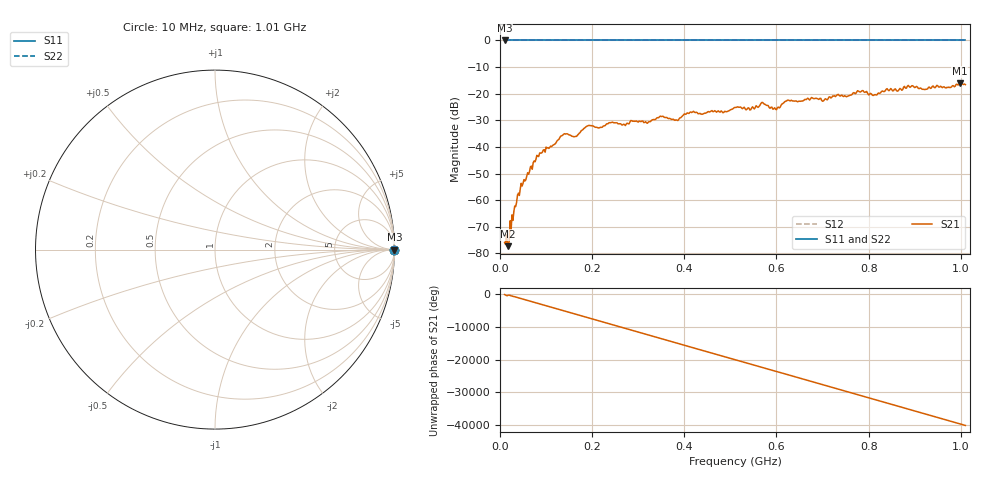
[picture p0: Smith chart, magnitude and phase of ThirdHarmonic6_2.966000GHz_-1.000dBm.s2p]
! 8/17/2025 8:23:06 AM
! C:\ANRITSUVNA\TEMP\TEMP.S2P
! CHANNEL.1
! TR.MEASUREMENT
! RAW.DATA
! RF.CORRECTION.OFF
! AVERAGING.OFF
! IF.BANDWIDTH: 5KHZ
! SWEEPTYPE:  FREQ.SWEEP(Linear)
! Reference Plane Port Info
! PORT:  PORT1  PORT2
! DISTANCE:  0  m  0  m
! TIME:  0  s  0  s
! PHASE.OFFSET:  0  deg.  0  deg.
! LOSS:  0  dB  0  dB
! REF.LOSS:  0  dB  0  dB
! REF.FREQ:  0  Hz  0  Hz
! Power Info
! POWER:  -20  dBm  -20  dBm
! EFF.POWER:  -20  dBm  -20  dBm
! SOURCE.ATTEN:  0  dB  0  dB
! TEST.ATTEN:  0  dB  0  dB
# GHZ S RI R 50.0
! FREQ.GHZ  S11RE  S11IM  S21RE  S21IM  S12RE  S12IM  S22RE  S22IM
!; PortSelection: Port_12
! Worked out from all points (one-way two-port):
!   501 points, 10 MHz to 1.01 GHz, reference 50 ohm
!   highest |S21| = -16.07 dB at 998 MHz (marker M1); lowest = -77.3 dB at 18 MHz (marker M2)
!   lowest |S11| = 0.0 dB at 10 MHz (marker M3)
!   |S11| at or under -10 dB: nowhere
!   |S22| runs from 0.0 to 0.0 dB; largest |S21 - S12| = 1.1
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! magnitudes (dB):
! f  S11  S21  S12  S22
! 10 MHz  0.0  -75.9  0.0  0.0
! 16 MHz  0.0  -76.0  0.0  0.0
! 18 MHz  0.0  -77.3  0.0  0.0
! 42 MHz  0.0  -58.2  0.0  0.0
! 76 MHz  0.0  -45.6  0.0  0.0
! 136 MHz  0.0  -35.6  0.0  0.0
! 164 MHz  0.0  -36.0  0.0  0.0
! 178 MHz  0.0  -33.7  0.0  0.0
! 344 MHz  0.0  -29.1  0.0  0.0
! 382 MHz  0.0  -29.8  0.0  0.0
! 416 MHz  0.0  -27.1  0.0  0.0
! 510 MHz  0.0  -25.2  0.0  0.0
! 570 MHz  0.0  -23.3  0.0  0.0
! 596 MHz  0.0  -25.3  0.0  0.0
! 622 MHz  0.0  -22.7  0.0  0.0
! 678 MHz  0.0  -21.6  0.0  0.0
! 702 MHz  0.0  -22.7  0.0  0.0
! 784 MHz  0.0  -19.1  0.0  0.0
! 814 MHz  0.0  -20.3  0.0  0.0
! 844 MHz  0.0  -18.9  0.0  0.0
! 998 MHz  0.0  -16.1  0.0  0.0
! 1.01 GHz  0.0  -16.6  0.0  0.0
